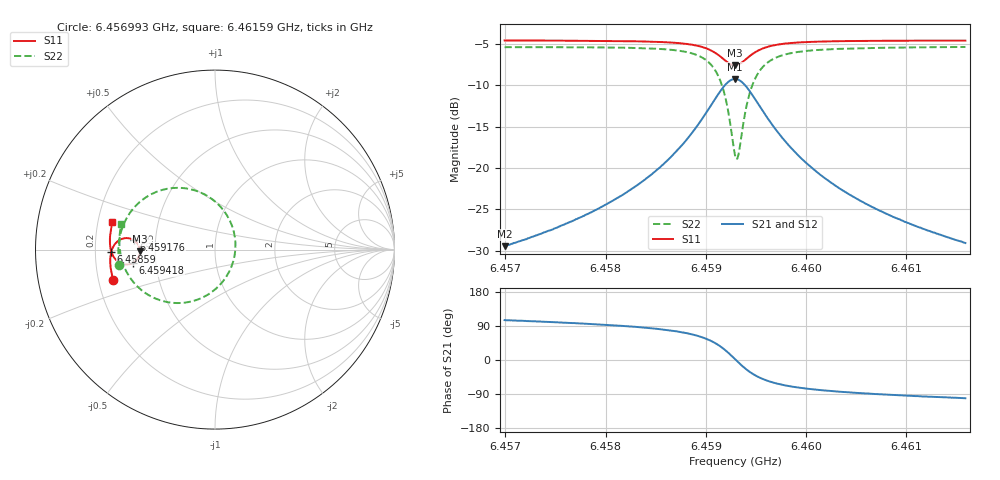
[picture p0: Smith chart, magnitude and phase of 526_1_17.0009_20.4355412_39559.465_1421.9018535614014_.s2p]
#  HZ  S  RI  R  50.00
! Rohde & Schwarz Vector Network Analyzer
! Rohde-Schwarz,ZNB20-2Port,1311601062101988,3.16
! Created: UTC 3/20/2024, 11:15:42 PM
! freq[Hz]  re:S11  im:S11  re:S21  im:S21  re:S12  im:S12  re:S22  im:S22
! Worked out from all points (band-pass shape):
!   401 points, 6.456993 GHz to 6.46159 GHz, reference 50 ohm
!   highest |S21| = -9.21 dB at 6.459291 GHz (marker M1); lowest = -29.5 dB at 6.456993 GHz (marker M2)
!   |S21| within 3 dB of the highest: 6.459062 GHz to 6.459522 GHz (459.7 kHz wide, 0.00712 % of centre)
!   lowest |S11| = -7.6 dB at 6.459291 GHz (marker M3), VSWR 2.44, Z = 20.5 - j0.459 ohm
!   |S11| at or under -10 dB: nowhere
!   |S22| runs from -18.9 to -5.3 dB; largest |S21 - S12| = 0.014
!   S11 on the Smith chart (normalised r, x): 6.456993 GHz: 0.26, -0.14; 6.45859 GHz: 0.27, -0.01; 6.459176 GHz: 0.37, +0.05; 6.459418 GHz: 0.37, -0.07; 6.46159 GHz: 0.26, +0.12
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6.4569927e9  -0.5669 -0.171  -0.00886 0.0325  -0.00704 0.0324  -0.533 -0.0835
6.4577627e9  -0.5809 -0.1037  -0.00558 0.0504  -0.00292 0.0499  -0.5382 0.0068
6.4581879e9  -0.5837 -0.061  0.000581 0.07  0.00385 0.0686  -0.5299 0.0741
6.4585327e9  -0.5798 -0.0199  0.0144 0.0988  0.0184 0.096  -0.5041 0.1519
6.4585902e9  -0.578 -0.012  0.0186 0.1057  0.0228 0.1026  -0.4959 0.1686
6.4587971e9  -0.565 0.0201  0.0464 0.1382  0.0504 0.1331  -0.4442 0.2413
6.4589465e9  -0.5423 0.0463  0.0916 0.1685  0.0949 0.1618  -0.3605 0.3057
6.4590844e9  -0.4985 0.0641  0.1789 0.1849  0.1798 0.1777  -0.201 0.3442
6.4591763e9  -0.4539 0.0537  0.269 0.1538  0.2691 0.1479  -0.0341 0.2938
6.4592453e9  -0.4248 0.0218  0.3295 0.0819  0.3315 0.0765  0.0814 0.164
6.4592912e9  -0.4179 -0.00924  0.3459 0.0138  0.3495 0.007  0.1139 0.0366
6.4593027e9  -0.4183 -0.0173  0.3457 -0.00407  0.3495 -0.0115  0.1134 0.00309
6.4593257e9  -0.4219 -0.0329  0.3402 -0.0387  0.3441 -0.0478  0.1024 -0.0631
6.4593717e9  -0.4373 -0.0592  0.3116 -0.0986  0.3138 -0.1108  0.0443 -0.1767
6.4594177e9  -0.4595 -0.0755  0.2692 -0.1399  0.2685 -0.1532  -0.0411 -0.2518
6.4595096e9  -0.5029 -0.0823  0.1842 -0.1712  0.178 -0.1827  -0.2109 -0.2978
6.459659e9  -0.5469 -0.0618  0.0962 -0.1571  0.0876 -0.1633  -0.379 -0.2478
6.4598199e9  -0.5684 -0.0341  0.0513 -0.129  0.0435 -0.1318  -0.4593 -0.1753
6.4600613e9  -0.581 0.00153  0.0221 -0.0974  0.0163 -0.098  -0.5073 -0.0926
6.4604061e9  -0.5855 0.0424  0.00611 -0.0705  0.00202 -0.0699  -0.5287 -0.0133
6.4608313e9  -0.5835 0.0853  -0.00147 -0.0519  -0.00446 -0.051  -0.5326 0.0551
6.4615898e9  -0.5712 0.1524  -0.00665 -0.0345  -0.00841 -0.0336  -0.5211 0.1447
